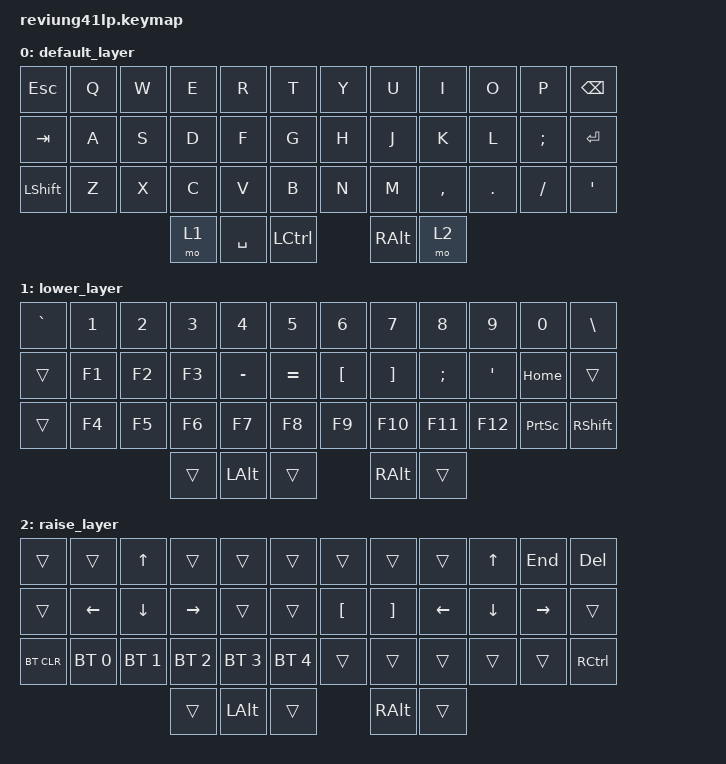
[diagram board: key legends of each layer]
/*
 * Copyright (c) 2020 The ZMK Contributors
 *
 * SPDX-License-Identifier: MIT
 */

#include <behaviors.dtsi>
#include <dt-bindings/zmk/matrix_transform.h>
#include <dt-bindings/zmk/keys.h>
#include <dt-bindings/zmk/bt.h>
#include <dt-bindings/zmk/rgb.h>

/ {
    chosen {
        zmk,kscan = &kscan0;
        zmk,matrix_transform = &default_transform;
    };

    default_transform: keymap_transform_0 {
        compatible = "zmk,matrix-transform";
        columns = <6>;
        rows = <7>;

        map = <
    RC(0,0) RC(0,1) RC(0,2) RC(0,3) RC(0,4) RC(0,5) RC(1,0) RC(1,1) RC(1,2) RC(1,3) RC(1,4) RC(1,5)
    RC(2,0) RC(2,1) RC(2,2) RC(2,3) RC(2,4) RC(2,5) RC(3,0) RC(3,1) RC(3,2) RC(3,3) RC(3,4) RC(3,5)
    RC(4,0) RC(4,1) RC(4,2) RC(4,3) RC(4,4) RC(4,5) RC(5,0) RC(5,1) RC(5,2) RC(5,3) RC(5,4) RC(5,5)
                            RC(6,0)    RC(6,1)  RC(6,2)  RC(6,3)    RC(6,4)
        >;
    };

    keymap {
        compatible = "zmk,keymap";

        default_layer {
// -------------------------------------------------------------------------------------
// |  TAB |  Q  |  W  |  E  |  R  |  T  |   |  Y  |  U   |  I  |  O  |  P  | BKSP |
// | CTRL |  A  |  S  |  D  |  F  |  G  |   |  H  |  J   |  K  |  L  |  ;  | ENT  |
// | SHFT |  Z  |  X  |  C  |  V  |  B  |   |  N  |  M   |  ,  |  .  |  /  |  '   |
//                         | LWR | SPC | LCTRL | RALT | RSE |
                        bindings = <
   &kp ESC   &kp Q &kp W &kp E &kp R &kp T   &kp Y &kp U  &kp I     &kp O   &kp P    &kp BSPC
   &kp TAB   &kp A &kp S &kp D &kp F &kp G   &kp H &kp J  &kp K     &kp L   &kp SEMI &kp RET
   &kp LSHFT &kp Z &kp X &kp C &kp V &kp B   &kp N &kp M  &kp COMMA &kp DOT &kp FSLH &kp SQT
                        &mo 1 &kp  SPACE &kp LCTRL &kp RALT &mo 2
            >;
        };

        lower_layer {
// -----------------------------------------------------------------------------------------
// |  `  |  1  |  2  |  3  |  4  |  5  |   |  6  |  7  |  8  |  9  |  0  |  \   |
// |     | F1  | F2  | F3  |  -  |  =  |   |LBKT |RBKT |SEMI |APOS |HOME |      |
// |     | F4  | F5  | F6  | F7  | F8  |   | F9  | F10 | F11 | F12 |PSCRN| RSHFT|
//                        |     | LALT |   | RALT |     |
                        bindings = <
   &kp GRAVE &kp N1 &kp N2 &kp N3 &kp N4    &kp N5      &kp N6   &kp N7   &kp N8   &kp N9   &kp N0    &kp BSLH
   &trans    &kp F1 &kp F2 &kp F3 &kp MINUS &kp EQUAL   &kp LBKT &kp RBKT &kp SEMI &kp APOS &kp HOME  &trans
   &trans    &kp F4 &kp F5 &kp F6 &kp F7    &kp F8      &kp F9   &kp F10  &kp F11  &kp F12  &kp PSCRN &kp RSHFT
                        &trans &kp LALT &trans &kp RALT &trans
            >;
        };

        raise_layer {
// -----------------------------------------------------------------------------------------
// |      |     |  UP |     |     |     |   |     |     |     |  UP | END | DEL  |
// |      | LFT | DWN | RGT |     |     |   |LBKT |RBKT | LFT | DWN | RGT |      |
// | BTCLR| BT1 | BT2 | BT3 | BT4 | BT5 |   |     |     |     |     |     | CTRL |
//                         |     | LALT |   | RALT |     |
                        bindings = <
   &trans &trans   &kp UP   &trans &trans &trans                                 &trans   &trans   &trans   &kp UP   &kp END   &kp DEL
   &trans &kp LEFT &kp DOWN &kp RIGHT &trans &trans                              &kp LBKT &kp RBKT &kp LEFT &kp DOWN &kp RIGHT &trans
   &bt BT_CLR &bt BT_SEL 0 &bt BT_SEL 1 &bt BT_SEL 2 &bt BT_SEL 3 &bt BT_SEL 4   &trans   &trans   &trans   &trans   &trans    &kp RCTRL
                        &trans &kp LALT &trans &kp RALT &trans
            >;
        };
    };

    kscan0: kscan_0 {
        compatible = "zmk,kscan-gpio-matrix";
        label = "KSCAN";
        diode-direction = "col2row";

        col-gpios
            = <&pro_micro_d 4 GPIO_ACTIVE_HIGH>
            , <&pro_micro_d 5 GPIO_ACTIVE_HIGH>
            , <&pro_micro_d 6 GPIO_ACTIVE_HIGH>
            , <&pro_micro_d 7 GPIO_ACTIVE_HIGH>
            , <&pro_micro_d 8 GPIO_ACTIVE_HIGH>
            , <&pro_micro_d 9 GPIO_ACTIVE_HIGH>
            ;

        row-gpios
            = <&pro_micro_a 3 (GPIO_ACTIVE_HIGH | GPIO_PULL_DOWN)>
            , <&pro_micro_d 16 (GPIO_ACTIVE_HIGH | GPIO_PULL_DOWN)>
            , <&pro_micro_a 2 (GPIO_ACTIVE_HIGH | GPIO_PULL_DOWN)>
            , <&pro_micro_d 14 (GPIO_ACTIVE_HIGH | GPIO_PULL_DOWN)>
            , <&pro_micro_a 1 (GPIO_ACTIVE_HIGH | GPIO_PULL_DOWN)>
            , <&pro_micro_d 15 (GPIO_ACTIVE_HIGH | GPIO_PULL_DOWN)>
            , <&pro_micro_a 0 (GPIO_ACTIVE_HIGH | GPIO_PULL_DOWN)>
            ;
    };
};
